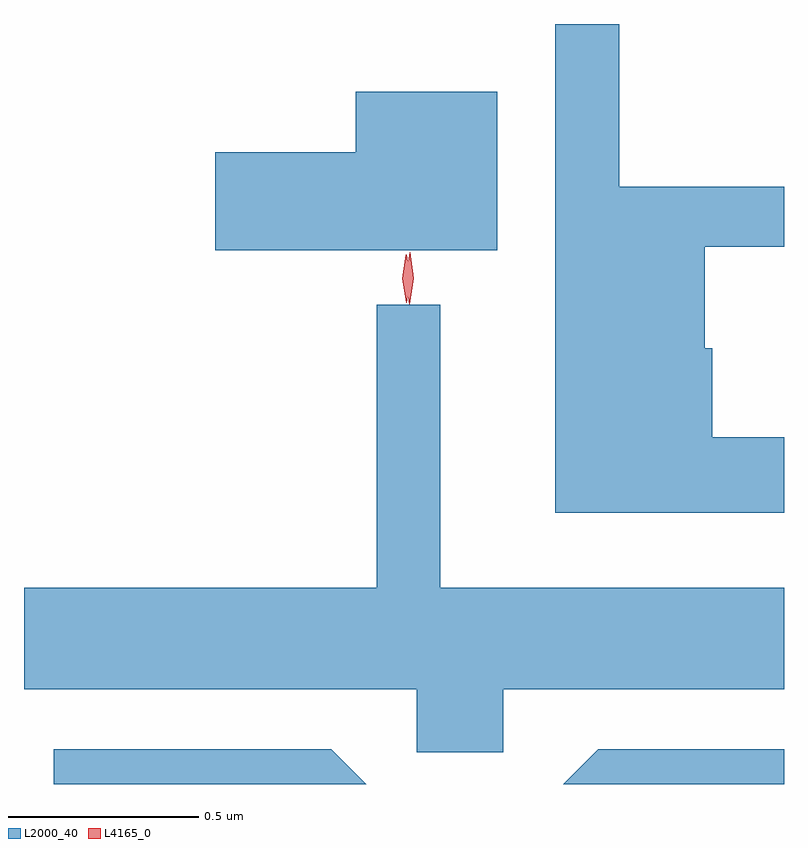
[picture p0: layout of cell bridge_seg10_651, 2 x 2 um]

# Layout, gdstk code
import gdstk
lib = gdstk.Library(unit=1e-6, precision=1e-09)
def P(c, l, *ps):  # polygons
    for p in ps: c.add(gdstk.Polygon(p, *l))
L2000_40 = (2000, 40)
L4165_0 = (4165, 0)

bridge_seg10_651 = lib.new_cell('bridge_seg10_651')
P(bridge_seg10_651, L2000_40, [(639.703,2105.699),(639.514,2105.699),(639.514,2105.934),(639.494,2105.934),(639.494,2106.201),(639.703,2106.201),(639.703,2106.359),(639.269,2106.359),(639.269,2106.787),(639.101,2106.787),(639.101,2105.501),(639.703,2105.501)],
  [(638.949,2106.609),(638.576,2106.609),(638.576,2106.449),(638.206,2106.449),(638.206,2106.191),(638.949,2106.191)],
  [(638.964,2105.036),(639.703,2105.036),(639.703,2105.304),(638.799,2105.304),(638.799,2106.048),(638.631,2106.048),(638.631,2105.304),(637.703,2105.304),(637.703,2105.036),(638.736,2105.036),(638.736,2104.871),(638.964,2104.871)],
  [(639.703,2104.879),(639.214,2104.879),(639.122,2104.787),(639.703,2104.787)],
  [(638.512,2104.879),(637.781,2104.879),(637.781,2104.787),(638.604,2104.787)])
P(bridge_seg10_651, L4165_0, [(638.717,2106.05),(638.717,2106.05),(638.708,2106.118),(638.718,2106.186),(638.719,2106.186),(638.72,2106.186),(638.728,2106.118),(638.718,2106.05)],
  [(638.709,2106.053),(638.699,2106.116),(638.708,2106.18),(638.709,2106.18),(638.71,2106.18),(638.719,2106.116),(638.71,2106.053),(638.71,2106.053)])

lib.write_gds('bridge_seg10_651.gds')
